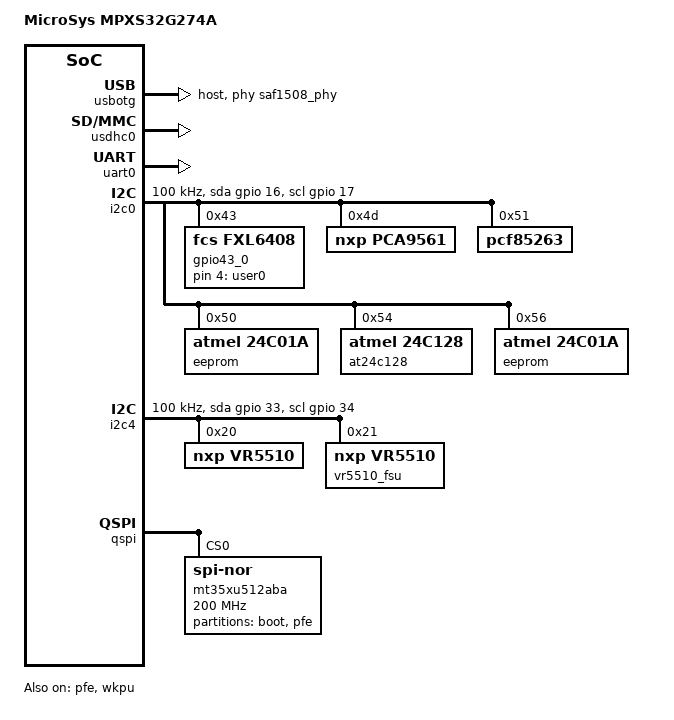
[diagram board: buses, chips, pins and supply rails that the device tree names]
/*
 * Copyright (C) 2021-2022 MicroSys Electronics GmbH
 *
 * SPDX-License-Identifier: BSD-3-Clause
 */

/dts-v1/;
#include "s32g2.dtsi"
#include <dt-bindings/gpio/gpio.h>

/ {
	model = "MicroSys MPXS32G274A";

	leds: leds {
		compatible = "gpio-leds";
		user0 {
			label = "user0";
			gpios = <&gpio43_0 4 0>;
			default-state = "off";
		};
	};

	aliases {
		usb0 = &usbotg;
	};

	usbotg: usb@44064000 {
		compatible = "fsl,imx27-usb";
		reg = <0x0 0x44064000 0x0 0x200>;
		clocks = <&clks S32G_SCMI_CLK_USB_MEM>,
			   <&clks S32G_SCMI_CLK_USB_LOW>;
		pinctrl-0 = <&usb_pins>;
		pinctrl-names = "default";
		phys = <&saf1508_phy>;
		dr_mode = "host";
	};

	saf1508_phy: usb_phy@44064000 {
		compatible = "nxp,saf1508bet";
		reg = <0x0 0x44064000 0x0 0x200>;
		#phy-cells = <0>;
	};
};

&usbotg {
	status = "okay";
};

&pfe {
	status = "okay";

	pinctrl-0 = <&pfe0_pins>;
	pinctrl-1 = <>;
	pinctrl-2 = <&pfe1_pins>;
	pinctrl-3 = <>;
	pinctrl-4 = <&pfe2_pins>;
	pinctrl-5 = <>;
	pinctrl-6 = <&pfe0_mdio_pins>;
	pinctrl-7 = <&pfe1_mdio_pins>;
	pinctrl-8 = <&pfe2_mdio_pins>;
	pinctrl-names = "pfe0_rgmii", "pfe0_sgmii",
		"pfe1_rgmii", "pfe1_sgmii",
		"pfe2_rgmii", "pfe2_sgmii",
		"pfe_mdio0", "pfe_mdio1", "pfe_mdio2";

	pfe_mdio0: pfe_mdio0 {
		reg = <0x00>;
		compatible = "nxp,pfeng-mdio";
		status = "disabled";
	};

	pfe_mdio1: pfe_mdio1 {
		reg = <0x01>;
		compatible = "nxp,pfeng-mdio";
		status = "disabled";
	};

	pfe_mdio2: pfe_mdio2 {
		reg = <0x02>;
		compatible = "nxp,pfeng-mdio";
		status = "disabled";
	};
};

&usdhc0 {
	/* By default, sd0 pins are able to work at 100Mhz and 200Mhz */
	pinctrl-0 = <&sd0_pins>;
	pinctrl-1 = <>;
	pinctrl-2 = <>;
	pinctrl-names = "default", "state_100mhz", "state_200mhz";
	status = "okay";
};

&gmac0_mdio {
	status = "disabled";
};

&gmac0 {
	pinctrl-0 = <&gmac0_pins>;
	pinctrl-1 = <>;
	pinctrl-2 = <&gmac0_mdio_pins>;
	pinctrl-names = "gmac_rgmii", "gmac_sgmii", "gmac_mdio";
};

&uart0 {
	pinctrl-0 = <&uart0_pins>;
	pinctrl-names = "default";
	status = "okay";
};

&i2c0 {
	pinctrl-names = "default", "gpio";
	pinctrl-0 = <&i2c0_pins>;
	pinctrl-1 = <&i2c0_gpio_pins>;
	scl-gpios = <&gpio 17 (GPIO_ACTIVE_HIGH | GPIO_OPEN_DRAIN)>;
	sda-gpios = <&gpio 16 (GPIO_ACTIVE_HIGH | GPIO_OPEN_DRAIN)>;
	clock-frequency=<100000>;
	status = "okay";

	gpio43_0: gpio@43 {
		compatible = "fcs,fxl6408";
		reg = <0x43>;
		#gpio-cells = <2>;
		gpio-bank-name = "mpx0-";
		direction = [10];
		input-default-state = [0f];
		output-default-state = [00];
		pull-config = [10 0f]; /* pull-enable / pull-up/down */
		u-boot,i2c-offset-len = <1>; /* one address byte */
	};

	// PCA9561: EEPROM DIP switch
	pca9561: dip@4d {
		compatible = "nxp,pca9561";
		reg = <0x4d>;
	};

	pcf85263: rtc@51 {
		compatible = "pcf85263";
		reg = <0x51>;
	};

	eeprom@50 {
		compatible = "atmel,24c01a";
		reg = <0x50>;
	};

	at24c128: eeprom@54 {
		compatible = "atmel,24c128";
		reg = <0x54>;
		u-boot,i2c-offset-len = <2>; /* two address bytes */
		pagesize = <64>;
		page-write-delay = <5000>; /* 5ms delay when writing */
		max-speed = <400000>;
	};

	eeprom@56 {
		compatible = "atmel,24c01a";
		reg = <0x56>;
	};

};

&i2c1 {
	pinctrl-names = "default", "gpio";
	pinctrl-0 = <&i2c1_pins>;
	pinctrl-1 = <&i2c1_gpio_pins>;
	scl-gpios = <&gpio 19 (GPIO_ACTIVE_HIGH | GPIO_OPEN_DRAIN)>;
	sda-gpios = <&gpio 20 (GPIO_ACTIVE_HIGH | GPIO_OPEN_DRAIN)>;
	clock-frequency=<100000>;
	status = "disabled";
};

&i2c2 {
	pinctrl-names = "default", "gpio";
	pinctrl-0 = <&i2c2_pins>;
	pinctrl-1 = <&i2c2_gpio_pins>;
	scl-gpios = <&gpio 21 (GPIO_ACTIVE_HIGH | GPIO_OPEN_DRAIN)>;
	sda-gpios = <&gpio 22 (GPIO_ACTIVE_HIGH | GPIO_OPEN_DRAIN)>;
	clock-frequency=<100000>;
	status = "disabled";
};

/* PMIC */
&i2c4 {
	pinctrl-names = "default", "gpio";
	pinctrl-0 = <&i2c4_pins>;
	pinctrl-1 = <&i2c4_gpio_pins>;
	scl-gpios = <&gpio 34 (GPIO_ACTIVE_HIGH | GPIO_OPEN_DRAIN)>;
	sda-gpios = <&gpio 33 (GPIO_ACTIVE_HIGH | GPIO_OPEN_DRAIN)>;
	status = "okay";
	clock-frequency=<100000>;

	vr5510@20 {
		compatible = "nxp,vr5510";
		reg = <0x20>;
		status = "okay";
	};

	vr5510_fsu@21 {
		compatible = "nxp,vr5510";
		reg = <0x21>;
		status = "okay";
	};

};

&wkpu {
	status = "okay";
};

&qspi {
	pinctrl-0 = <&qspi_pins>;
	pinctrl-names = "default";
	status = "okay";

	/delete-node/ mx25uw51245g@0;

	mt35xu512aba@0 {
		#address-cells = <1>;
		#size-cells = <1>;
		compatible = "jedec,spi-nor";
		spi-max-frequency = <200000000>;
		spi-tx-bus-width = <8>;
		spi-rx-bus-width = <8>;
		reg = <0>;

		partition@0 {
			reg = <0 0x200000>;
			label = "boot";
		};

		partition@1 {
			reg = <0x3000000 0x28000>;
			label = "pfe";
		};
	};
};

&pinctrl {
	u-boot,dm-pre-reloc;

	i2c0_pins: i2c0 {
		i2c0_grp0 {
			pinmux = <S32CC_PINMUX(16, FUNC1)>,
				 <S32CC_PINMUX(17, FUNC1)>;
			drive-open-drain;
			output-enable;
			input-enable;
			slew-rate = <S32CC_SLEW_83MHZ>;
		};

		i2c0_grp1 {
			pinmux = <S32CC_PINMUX(565, FUNC2)>,
				 <S32CC_PINMUX(566, FUNC2)>;
		};

	};

	i2c0_gpio_pins: i2c0_gpio {
		i2c0_gpio_grp0 {
			pinmux = <S32CC_PINMUX(16, FUNC0)>,
				 <S32CC_PINMUX(17, FUNC0)>;
			drive-open-drain;
			output-enable;
			slew-rate = <S32CC_SLEW_208MHZ>;
		};

		i2c0_gpio_grp1 {
			pinmux = <S32CC_PINMUX(565, FUNC0)>,
				 <S32CC_PINMUX(566, FUNC0)>;
		};

	};

	i2c1_pins: i2c1 {
		i2c1_grp0 {
			pinmux = <S32CC_PINMUX(19, FUNC1)>,
				 <S32CC_PINMUX(20, FUNC1)>;
			drive-open-drain;
			output-enable;
			input-enable;
			slew-rate = <S32CC_SLEW_83MHZ>;
		};

		i2c1_grp1 {
			pinmux = <S32CC_PINMUX(717, FUNC2)>,
				 <S32CC_PINMUX(718, FUNC2)>;
		};

	};

	i2c1_gpio_pins: i2c1_gpio {
		i2c1_gpio_grp0 {
			pinmux = <S32CC_PINMUX(19, FUNC0)>,
				 <S32CC_PINMUX(20, FUNC0)>;
			drive-open-drain;
			output-enable;
			slew-rate = <S32CC_SLEW_208MHZ>;
		};

		i2c1_gpio_grp1 {
			pinmux = <S32CC_PINMUX(717, FUNC0)>,
				 <S32CC_PINMUX(718, FUNC0)>;
		};

	};

	i2c2_pins: i2c2 {
		i2c2_grp0 {
			pinmux = <S32CC_PINMUX(21, FUNC1)>,
				 <S32CC_PINMUX(22, FUNC1)>;
			drive-open-drain;
			output-enable;
			input-enable;
			slew-rate = <S32CC_SLEW_83MHZ>;
		};

		i2c2_grp1 {
			pinmux = <S32CC_PINMUX(719, FUNC2)>,
				 <S32CC_PINMUX(720, FUNC2)>;
		};

	};

	i2c2_gpio_pins: i2c2_gpio {
		i2c2_gpio_grp0 {
			pinmux = <S32CC_PINMUX(21, FUNC0)>,
				 <S32CC_PINMUX(22, FUNC0)>;
			drive-open-drain;
			output-enable;
			slew-rate = <S32CC_SLEW_208MHZ>;
		};

		i2c2_gpio_grp1 {
			pinmux = <S32CC_PINMUX(719, FUNC0)>,
				 <S32CC_PINMUX(720, FUNC0)>;
		};

	};

	i2c4_pins: i2c4 {
		i2c4_grp0 {
			pinmux = <S32CC_PINMUX(33, FUNC1)>;
			drive-open-drain;
			output-enable;
			input-enable;
			slew-rate = <S32CC_SLEW_83MHZ>;
		};

		i2c4_grp1 {
			pinmux = <S32CC_PINMUX(34, FUNC2)>;
			drive-open-drain;
			output-enable;
			input-enable;
			slew-rate = <S32CC_SLEW_83MHZ>;
		};

		i2c4_grp2 {
			pinmux = <S32CC_PINMUX(724, FUNC3)>,
				 <S32CC_PINMUX(723, FUNC3)>;
		};

	};

	i2c4_gpio_pins: i2c4_gpio {
		i2c4_gpio_grp0 {
			pinmux = <S32CC_PINMUX(33, FUNC0)>,
				 <S32CC_PINMUX(34, FUNC0)>;
			drive-open-drain;
			output-enable;
			slew-rate = <S32CC_SLEW_208MHZ>;
		};

		i2c4_gpio_grp1 {
			pinmux = <S32CC_PINMUX(724, FUNC0)>,
				 <S32CC_PINMUX(723, FUNC0)>;
		};

	};

	qspi_pins: qspi {
		qspi_grp0 {
			pinmux = <S32CC_PINMUX(85, FUNC1)>,
				 <S32CC_PINMUX(86, FUNC1)>,
				 <S32CC_PINMUX(87, FUNC1)>,
				 <S32CC_PINMUX(88, FUNC1)>,
				 <S32CC_PINMUX(89, FUNC1)>,
				 <S32CC_PINMUX(90, FUNC1)>,
				 <S32CC_PINMUX(91, FUNC1)>,
				 <S32CC_PINMUX(92, FUNC1)>,
				 <S32CC_PINMUX(93, FUNC1)>;
			output-enable;
			input-enable;
			slew-rate = <S32CC_SLEW_208MHZ>;
			bias-pull-down;
		};

		qspi_grp1 {
			pinmux = <S32CC_PINMUX(96, FUNC1)>,
				 <S32CC_PINMUX(97, FUNC1)>,
				 <S32CC_PINMUX(98, FUNC1)>,
				 <S32CC_PINMUX(99, FUNC1)>;
			output-enable;
			slew-rate = <S32CC_SLEW_208MHZ>;
		};

		qspi_grp2 {
			pinmux = <S32CC_PINMUX(100, FUNC1)>,
				 <S32CC_PINMUX(101, FUNC1)>;
			output-enable;
			slew-rate = <S32CC_SLEW_208MHZ>;
			bias-pull-up;
		};

		qspi_grp3 {
			pinmux = <S32CC_PINMUX(540, FUNC2)>,
				 <S32CC_PINMUX(541, FUNC2)>,
				 <S32CC_PINMUX(542, FUNC2)>,
				 <S32CC_PINMUX(543, FUNC2)>,
				 <S32CC_PINMUX(544, FUNC2)>,
				 <S32CC_PINMUX(545, FUNC2)>,
				 <S32CC_PINMUX(546, FUNC2)>,
				 <S32CC_PINMUX(547, FUNC2)>,
				 <S32CC_PINMUX(548, FUNC2)>;
		};

	};

	uart0_pins: uart0 {
		uart0_grp0 {
			pinmux = <S32CC_PINMUX(41, FUNC1)>;
			output-enable;
			slew-rate = <S32CC_SLEW_83MHZ>;
		};

		uart0_grp1 {
			pinmux = <S32CC_PINMUX(42, FUNC0)>;
			input-enable;
			slew-rate = <S32CC_SLEW_83MHZ>;
		};
	};

	usb_pins: usb {
		usb_grp0 {
			pinmux = <S32CC_PINMUX(62, FUNC1)>,
				 <S32CC_PINMUX(63, FUNC1)>,
				 <S32CC_PINMUX(64, FUNC1)>,
				 <S32CC_PINMUX(65, FUNC1)>,
				 <S32CC_PINMUX(112, FUNC1)>,
				 <S32CC_PINMUX(188, FUNC1)>,
				 <S32CC_PINMUX(189, FUNC1)>,
				 <S32CC_PINMUX(190, FUNC1)>;
			output-enable;
			input-enable;
			slew-rate = <S32CC_SLEW_208MHZ>;
		};

		usb_grp1 {
			pinmux = <S32CC_PINMUX(184, FUNC0)>,
				 <S32CC_PINMUX(185, FUNC0)>,
				 <S32CC_PINMUX(187, FUNC0)>;
			input-enable;
			slew-rate = <S32CC_SLEW_208MHZ>;
		};

		usb_grp2 {
			pinmux = <S32CC_PINMUX(186, FUNC1)>;
			output-enable;
			slew-rate = <S32CC_SLEW_208MHZ>;
		};

		usb_grp3 {
			pinmux = <S32CC_PINMUX(895, FUNC2)>,
				 <S32CC_PINMUX(896, FUNC2)>,
				 <S32CC_PINMUX(897, FUNC2)>,
				 <S32CC_PINMUX(898, FUNC2)>,
				 <S32CC_PINMUX(899, FUNC2)>,
				 <S32CC_PINMUX(900, FUNC2)>,
				 <S32CC_PINMUX(901, FUNC2)>,
				 <S32CC_PINMUX(902, FUNC2)>,
				 <S32CC_PINMUX(903, FUNC2)>,
				 <S32CC_PINMUX(904, FUNC2)>,
				 <S32CC_PINMUX(905, FUNC2)>;
		};

	};
};
